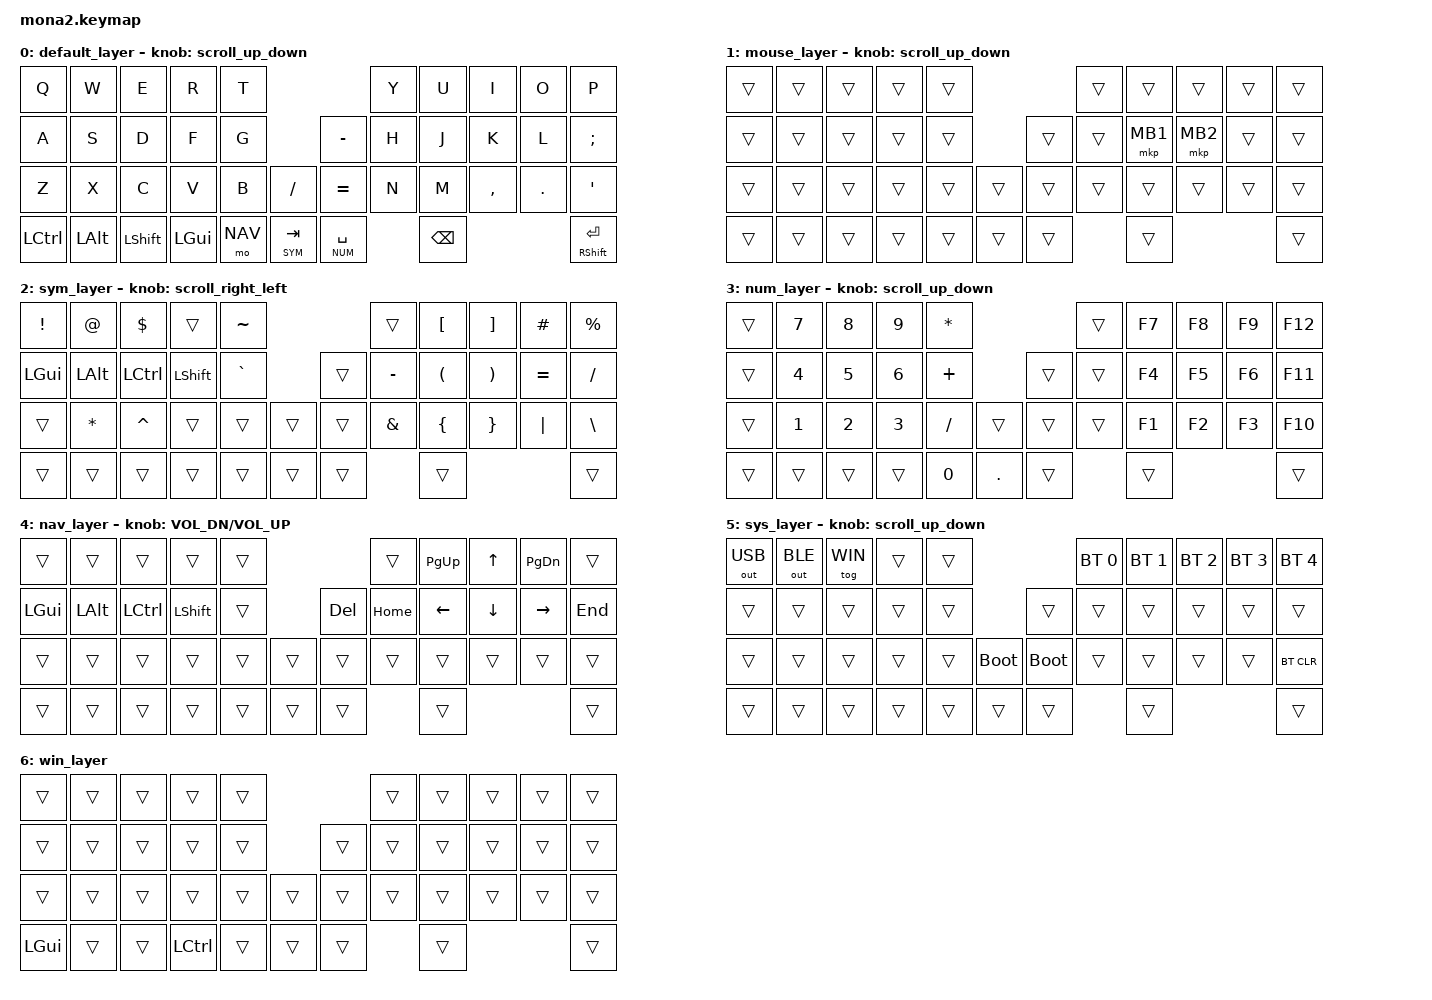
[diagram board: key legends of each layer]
#include <input/processors.dtsi>
#include <dt-bindings/zmk/input_transform.h>
#include <zephyr/dt-bindings/input/input-event-codes.h>
#include <behaviors.dtsi>
#include <dt-bindings/zmk/bt.h>
#include <dt-bindings/zmk/keys.h>
#include <dt-bindings/zmk/outputs.h>
#include <dt-bindings/zmk/pointing.h>

#define ZMK_POINTING_DEFAULT_SCRL_VAL 100

// レイヤー番号（番号が大きいレイヤが勝つ。MOUSE は一番下にして、押して出すレイヤに負けるようにする）
#define BASE  0
#define MOUSE 1   // ボールを動かすと自動で入る（mona2_r.overlay の zip_temp_layer が layer 1 を指す）。J/K・左親指修飾キー以外を押すか、英語/日本語コンボで抜ける
#define SYM   2   // Tab長押し
#define NUM   3   // Spc長押し
#define NAV   4   // 左手真ん中の親指（レイヤ専用）。押している間ボールがスクロールになる（mona2_r.overlay の scroller が layer 4 を見ている）
#define SYS   5   // Tab+Spc 同時長押し
#define WIN   6   // Windows モード（SYS 層の E でトグル。電源再投入で OFF に戻る）。親指列の Ctrl と Win(Cmd) を入れ替え、IME は 英数/ひらがな キーで切替。
                  // 最上位層なので ON の間はコンボの判定層が常に WIN になる（layers = <WIN> のコンボが発火する）

&mt {
    flavor = "balanced";
    quick-tap-ms = <0>;
};

&lt {
    quick-tap-ms = <150>;
    flavor = "balanced";
};

// オートマウスレイヤ：
// - 最後のキー入力から200ms以内のボール移動では入らない（文字入力中の誤発火防止）
// - excluded-positions に無いキーを押したら自動で抜ける（J/K=クリック と 左親指の Ctrl/Alt/Shift/Cmd は除外。修飾キー+クリックができるように）
//   ※ excluded-positions が空だとキー押下による解除自体が無効になるので、必ず1つ以上入れておくこと
&zip_temp_layer {
    require-prior-idle-ms = <200>;
    excluded-positions = <17 18 33 34 35 36>;
};

/ {
    combos {
        compatible = "zmk,combos";

        // コンボは「一番上のアクティブ層」で判定されるので、Mac 用は BASE/MOUSE、Windows 用は WIN を指定する

        // F + D 同時押しで英語（Mac: 英数 INT5）+ マウスレイヤ終了
        ime_en {
            bindings = <&ime_en_exit>;
            key-positions = <12 13>;
            layers = <BASE MOUSE>;
            timeout-ms = <50>;
            require-prior-idle-ms = <100>;
        };

        // J + K 同時押しで日本語（Mac: かな INT4）+ マウスレイヤ終了
        ime_ja {
            bindings = <&ime_ja_exit>;
            key-positions = <17 18>;
            layers = <BASE MOUSE>;
            timeout-ms = <50>;
            require-prior-idle-ms = <100>;
        };

        // F + D 同時押しで英語（Windows JIS: 英数キー → 半角英数モード）+ マウスレイヤ終了
        ime_en_win {
            bindings = <&ime_en_win>;
            key-positions = <12 13>;
            layers = <WIN>;
            timeout-ms = <50>;
            require-prior-idle-ms = <100>;
        };

        // J + K 同時押しで日本語（Windows JIS: カタカナひらがなキー → ひらがな入力で IME オン）+ マウスレイヤ終了
        ime_ja_win {
            bindings = <&ime_ja_win>;
            key-positions = <17 18>;
            layers = <WIN>;
            timeout-ms = <50>;
            require-prior-idle-ms = <100>;
        };

        // Tab + Spc 同時押し：タップでEsc、長押しで設定レイヤー
        combo_esc_sys {
            bindings = <&lt SYS ESC>;
            key-positions = <38 39>;
        };
    };

    macros {
        // マウスレイヤを抜けるのは &tog_off（OFF にするだけ）。&tog だと MOUSE が OFF のとき逆に ON になってしまう

        // 英語にしてマウスレイヤを抜ける（Mac）
        ime_en_exit: ime_en_exit {
            compatible = "zmk,behavior-macro";
            #binding-cells = <0>;
            bindings = <&kp INT5>, <&tog_off MOUSE>;
        };

        // 日本語にしてマウスレイヤを抜ける（Mac）
        ime_ja_exit: ime_ja_exit {
            compatible = "zmk,behavior-macro";
            #binding-cells = <0>;
            bindings = <&kp INT4>, <&tog_off MOUSE>;
        };

        // 英語にしてマウスレイヤを抜ける（Windows JIS: 英数キー）
        ime_en_win: ime_en_win {
            compatible = "zmk,behavior-macro";
            #binding-cells = <0>;
            bindings = <&kp CAPS>, <&tog_off MOUSE>;
        };

        // 日本語にしてマウスレイヤを抜ける（Windows JIS: カタカナひらがなキー）
        ime_ja_win: ime_ja_win {
            compatible = "zmk,behavior-macro";
            #binding-cells = <0>;
            bindings = <&kp INT2>, <&tog_off MOUSE>;
        };
    };

    behaviors {
        // レイヤを OFF にするだけのトグル（マウスレイヤ終了用）
        tog_off: tog_off {
            compatible = "zmk,behavior-toggle-layer";
            #binding-cells = <1>;
            toggle-mode = "off";
        };

        // Spc用のレイヤータップ：速く打っている最中は必ずスペースになる
        lt_spc: lt_spc {
            compatible = "zmk,behavior-hold-tap";
            #binding-cells = <2>;
            flavor = "balanced";
            tapping-term-ms = <200>;
            quick-tap-ms = <150>;
            require-prior-idle-ms = <150>;
            bindings = <&mo>, <&kp>;
        };

        // Enter：タップでEnter、左手のキーを押して離すまで押さえていたらShift
        mt_ent: mt_ent {
            compatible = "zmk,behavior-hold-tap";
            #binding-cells = <2>;
            flavor = "balanced";
            tapping-term-ms = <200>;
            quick-tap-ms = <150>;
            bindings = <&kp>, <&kp>;
            hold-trigger-key-positions = <0 1 2 3 4 10 11 12 13 14 21 22 23 24 25 26 33 34 35 36 37 38>;
        };

        scroll_up_down: mouse_wheel_up_down {
            compatible = "zmk,behavior-sensor-rotate";
            #sensor-binding-cells = <0>;
            bindings = <&msc SCRL_DOWN>, <&msc SCRL_UP>;
            tap-ms = <20>;
        };

        scroll_right_left: mouse_wheel_right_left {
            compatible = "zmk,behavior-sensor-rotate";
            #sensor-binding-cells = <0>;
            bindings = <&msc SCRL_LEFT>, <&msc SCRL_RIGHT>;
            tap-ms = <20>;
        };
    };

    keymap {
        compatible = "zmk,keymap";

        // 0: 基本
        default_layer {
            bindings = <
&kp Q            &kp W     &kp E     &kp R     &kp T                                     &kp Y     &kp U     &kp I      &kp O    &kp P
&kp A            &kp S     &kp D     &kp F     &kp G                         &kp MINUS   &kp H     &kp J     &kp K      &kp L    &kp SEMI
&kp Z            &kp X     &kp C     &kp V     &kp B         &kp SLASH       &kp EQUAL   &kp N     &kp M     &kp COMMA  &kp DOT  &kp SQT
&kp LCTRL        &kp LALT  &kp LSHFT &kp LGUI  &mo NAV       &lt SYM TAB     &lt_spc NUM SPACE &kp BSPC                        &mt_ent RSHFT RET
            >;
            sensor-bindings = <&scroll_up_down>;
        };

        // 1: マウス（ボールを動かすと自動で入る）— J=左クリック, K=右クリック。J/K・左親指修飾キー以外を押すか、英語/日本語コンボで抜ける
        mouse_layer {
            bindings = <
&trans           &trans    &trans    &trans    &trans                                    &trans    &trans    &trans     &trans   &trans
&trans           &trans    &trans    &trans    &trans                        &trans      &trans    &mkp MB1  &mkp MB2   &trans   &trans
&trans           &trans    &trans    &trans    &trans        &trans          &trans      &trans    &trans    &trans     &trans   &trans
&trans           &trans    &trans    &trans    &trans        &trans          &trans      &trans                                   &trans
            >;
            sensor-bindings = <&scroll_up_down>;
        };

        // 2: 記号（Tab長押し）
        //    右手ホームローに - = / を置く（H=- / L== / ;=/）。_ と + は Tab+F（Shift）+H / +L で打てる
        //    # と \ はそれぞれ O と ' に逃がしてある。基本層の内側列の - / = はそのまま残している
        sym_layer {
            bindings = <
&kp EXCL         &kp AT    &kp DLLR  &trans    &kp TILDE                               &trans    &kp LBKT  &kp RBKT   &kp HASH &kp PRCNT
&kp LGUI         &kp LALT  &kp LCTRL &kp LSHFT &kp GRAVE                    &trans      &kp MINUS &kp LPAR  &kp RPAR   &kp EQUAL &kp SLASH
&trans           &kp STAR  &kp CARET &trans    &trans        &trans          &trans      &kp AMPS  &kp LBRC  &kp RBRC   &kp PIPE &kp BSLH
&trans           &trans    &trans    &trans    &trans        &trans          &trans      &trans                                   &trans
            >;
            sensor-bindings = <&scroll_right_left>;
        };

        // 3: 数字（左手テンキー）＋ Fキー（右手4列）（Spc長押し）
        num_layer {
            bindings = <
&trans           &kp N7    &kp N8    &kp N9    &kp STAR                                  &trans    &kp F7    &kp F8     &kp F9   &kp F12
&trans           &kp N4    &kp N5    &kp N6    &kp PLUS                      &trans      &trans    &kp F4    &kp F5     &kp F6   &kp F11
&trans           &kp N1    &kp N2    &kp N3    &kp SLASH     &trans          &trans      &trans    &kp F1    &kp F2     &kp F3   &kp F10
&trans           &trans    &trans    &trans    &kp N0        &kp DOT         &trans      &trans                                   &trans
            >;
            sensor-bindings = <&scroll_up_down>;
        };

        // 4: 移動（左手真ん中の親指）— この間ボールはスクロール
        //    右手は逆T字：I=↑ / J=← K=↓ L=→、両端の H/; が Home/End、↑ の両脇の U/O が PgUp/PgDn
        //    右手内側の中段（基本層の - の位置）= Delete。Backspace はそのままなので NAV+Alt(S)+Backspace の単語消しが効く
        nav_layer {
            bindings = <
&trans           &trans    &trans    &trans    &trans                                    &trans    &kp PG_UP &kp UP     &kp PG_DN &trans
&kp LGUI         &kp LALT  &kp LCTRL &kp LSHFT &trans                        &kp DEL     &kp HOME  &kp LEFT  &kp DOWN   &kp RIGHT &kp END
&trans           &trans    &trans    &trans    &trans        &trans          &trans      &trans    &trans    &trans     &trans   &trans
&trans           &trans    &trans    &trans    &trans        &trans          &trans      &trans                                   &trans
            >;
            sensor-bindings = <&inc_dec_kp C_VOL_DN C_VOL_UP>;
        };

        // 5: 設定（Tab＋Spc 同時長押し）— E で Windows モード ON/OFF
        sys_layer {
            bindings = <
&out OUT_USB     &out OUT_BLE &tog WIN &trans  &trans                                    &bt BT_SEL 0 &bt BT_SEL 1 &bt BT_SEL 2 &bt BT_SEL 3 &bt BT_SEL 4
&trans           &trans    &trans    &trans    &trans                        &trans      &trans    &trans    &trans     &trans   &trans
&trans           &trans    &trans    &trans    &trans        &bootloader     &bootloader &trans    &trans    &trans     &trans   &bt BT_CLR
&trans           &trans    &trans    &trans    &trans        &trans          &trans      &trans                                   &trans
            >;
            sensor-bindings = <&scroll_up_down>;
        };

        // 6: Windows モード（SYS 層の E でトグル）— 親指列の Ctrl と Win(Cmd) を入れ替えるだけ。他は全て下の層のまま
        //    sensor-bindings は書かない（最上位層なので書くとエンコーダを奪ってしまう。省略すれば下の層に任される）
        win_layer {
            bindings = <
&trans           &trans    &trans    &trans    &trans                                    &trans    &trans    &trans     &trans   &trans
&trans           &trans    &trans    &trans    &trans                        &trans      &trans    &trans    &trans     &trans   &trans
&trans           &trans    &trans    &trans    &trans        &trans          &trans      &trans    &trans    &trans     &trans   &trans
&kp LGUI         &trans    &trans    &kp LCTRL &trans        &trans          &trans      &trans                                   &trans
            >;
        };
    };
};
